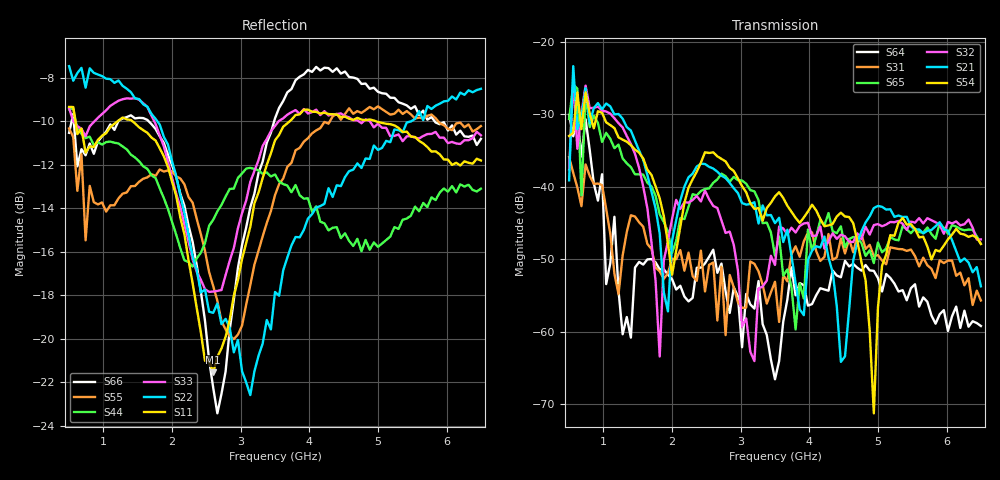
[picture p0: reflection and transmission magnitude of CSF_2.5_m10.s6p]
!Keysight Technologies,M9804A,MY58100912,A.14.10.03
!Date: Thursday, April 27, 2023 10:28:33
!Correction: S11(C  6-Port  )
!S12(C  6-Port  )
!S13(C  6-Port  )
!S14(C  6-Port  )
!S15(C  6-Port  )
!S16(C  6-Port  )
!S21(C  6-Port  )
!S22(C  6-Port  )
!S23(C  6-Port  )
!S24(C  6-Port  )
!S25(C  6-Port  )
!S26(C  6-Port  )
!S31(C  6-Port  )
!S32(C  6-Port  )
!S33(C  6-Port  )
!S34(C  6-Port  )
!S35(C  6-Port  )
!S36(C  6-Port  )
!S41(C  6-Port  )
!S42(C  6-Port  )
!S43(C  6-Port  )
!S44(C  6-Port  )
!S45(C  6-Port  )
!S46(C  6-Port  )
!S51(C  6-Port  )
!S52(C  6-Port  )
!S53(C  6-Port  )
!S54(C  6-Port  )
!S55(C  6-Port  )
!S56(C  6-Port  )
!S61(C  6-Port  )
!S62(C  6-Port  )
!S63(C  6-Port  )
!S64(C  6-Port  )
!S65(C  6-Port  )
!S66(C  6-Port  )
!S6P File: Measurement: :
# Hz S  RI  R 50
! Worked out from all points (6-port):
!   101 points, 500 MHz to 6.5 GHz, reference 50 ohm
!   strongest paths, dB at 500 MHz, 2 GHz, 3.5 GHz, 5 GHz, 6.5 GHz:
!     S54: -33.0, -52.1, -41.3, -56.7, -47.9
!     S21: -39.1, -47.4, -45.0, -42.6, -53.7
!     S32: -37.6, -44.4, -50.8, -45.1, -47.2
!     S65: -30.6, -49.1, -49.5, -47.7, -47.9
!     S31: -35.9, -49.9, -53.1, -49.4, -55.7
!     S64: -30.1, -52.7, -66.5, -52.6, -59.2
!   lowest |S11| = -21.5 dB at 2.6 GHz (marker M1), VSWR 1.18, Z = 42.5 + j2.05 ohm
!   |S11| at or under -10 dB: 591.2 MHz to 1.21 GHz (618.6 MHz wide, 68.7 % of centre); 1.42 GHz to 3.717 GHz (2.297 GHz wide, 89.5 % of centre); 4.965 GHz to end of sweep
